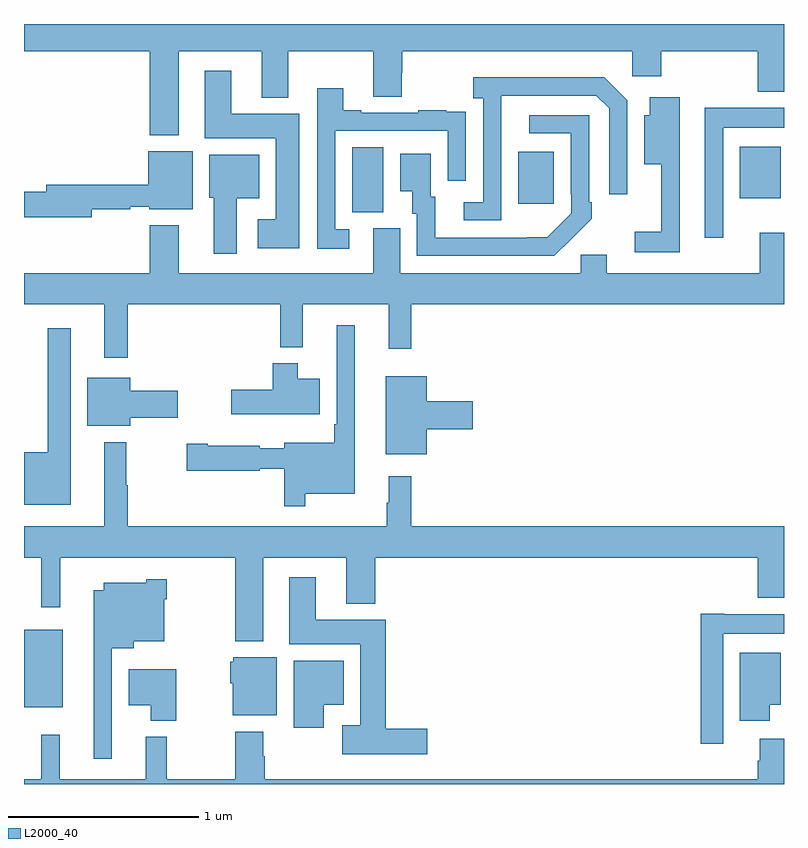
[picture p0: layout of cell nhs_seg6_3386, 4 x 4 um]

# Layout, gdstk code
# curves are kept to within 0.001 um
import gdstk
lib = gdstk.Library(unit=1e-6, precision=1e-09)
def R(c, l, rs):  # rectangles x0, y0, x1, y1
    for r in rs: c.add(gdstk.rectangle(r[:2], r[2:], *l))
def P(c, l, *ps):  # polygons
    for p in ps: c.add(gdstk.Polygon(p, *l))
L2000_40 = (2000, 40)

nhs_seg6_3386 = lib.new_cell('nhs_seg6_3386')
R(nhs_seg6_3386, L2000_40, [(311,923.903,311.203,924.313), (312.728,926.509,312.892,926.852), (313.601,926.553,313.789,926.827), (314.768,926.582,314.983,926.854)])
P(nhs_seg6_3386, L2000_40, [(311.815,927.356),(312.251,927.356),(312.251,927.113),(312.391,927.113),(312.391,927.356),(312.839,927.356),(312.839,927.118),(312.987,927.118),(312.987,927.243),(312.992,927.243),(312.992,927.356),(314.202,927.356),(314.202,927.225),(314.354,927.225),(314.354,927.356),(314.861,927.356),(314.861,927.143),(315,927.143),(315,927.5),(311,927.5),(311,927.356),(311.663,927.356),(311.663,926.915),(311.815,926.915)],
  [(312.448,927.028),(312.091,927.028),(312.091,927.253),(311.951,927.253),(311.951,926.9),(312.326,926.9),(312.326,926.473),(312.231,926.473),(312.231,926.321),(312.448,926.321)],
  [(313.512,926.923),(313.513,927.123),(314.013,927.123),(314.079,927.057),(314.079,926.604),(314.175,926.604),(314.175,927.099),(314.054,927.22),(313.365,927.22),(313.365,927.11),(313.416,927.11),(313.416,926.562),(313.314,926.562),(313.314,926.466),(313.512,926.466)],
  [(312.712,926.421),(312.639,926.421),(312.639,926.937),(313.23,926.937),(313.23,926.676),(313.326,926.676),(313.326,926.93),(313.325,926.93),(313.325,927.039),(313.223,927.039),(313.223,927.046),(313.075,927.046),(313.075,927.033),(312.775,927.033),(312.775,927.046),(312.679,927.046),(312.679,927.163),(312.543,927.163),(312.543,926.316),(312.712,926.316)],
  [(314.452,927.115),(314.294,927.115),(314.294,927.019),(314.264,927.019),(314.264,926.762),(314.354,926.762),(314.354,926.407),(314.214,926.407),(314.214,926.298),(314.452,926.298)],
  [(314.679,926.954),(315,926.954),(315,927.058),(314.582,927.058),(314.582,926.376),(314.679,926.376)],
  [(313.883,926.371),(313.884,926.37),(313.989,926.475),(313.989,926.563),(313.974,926.563),(313.974,927.021),(313.659,927.021),(313.659,926.925),(313.878,926.925),(313.878,926.605),(313.881,926.605),(313.881,926.505),(313.753,926.377),(313.165,926.376),(313.165,926.592),(313.141,926.592),(313.141,926.818),(312.98,926.818),(312.98,926.621),(313.043,926.621),(313.043,926.502),(313.068,926.502),(313.068,926.28),(313.792,926.28)],
  [(311.356,926.526),(311.558,926.526),(311.558,926.538),(311.658,926.538),(311.658,926.525),(311.887,926.525),(311.887,926.83),(311.654,926.83),(311.654,926.654),(311.117,926.654),(311.117,926.618),(311,926.618),(311,926.483),(311.356,926.483)],
  [(312.121,926.582),(312.238,926.582),(312.238,926.812),(311.975,926.812),(311.975,926.586),(311.999,926.586),(311.999,926.292),(312.121,926.292)],
  [(315,926.401),(314.873,926.401),(314.873,926.188),(314.068,926.188),(314.068,926.286),(313.929,926.286),(313.929,926.188),(312.979,926.188),(312.979,926.424),(312.839,926.424),(312.839,926.188),(311.815,926.188),(311.815,926.44),(311.663,926.44),(311.663,926.188),(311,926.188),(311,926.024),(311.423,926.024),(311.423,925.743),(311.545,925.743),(311.545,926.024),(312.349,926.024),(312.349,925.799),(312.467,925.799),(312.467,926.024),(312.92,926.024),(312.92,925.791),(313.037,925.791),(313.037,926.024),(315,926.024)],
  [(312.481,925.028),(312.742,925.028),(312.742,925.915),(312.645,925.915),(312.645,925.393),(312.633,925.393),(312.633,925.297),(312.371,925.297),(312.371,925.267),(312.24,925.267),(312.24,925.279),(311.968,925.279),(311.968,925.292),(311.856,925.292),(311.856,925.15),(312.24,925.15),(312.24,925.158),(312.371,925.158),(312.371,924.963),(312.481,924.963)],
  [(311.245,925.9),(311.124,925.9),(311.124,925.247),(311,925.247),(311,924.971),(311.245,924.971)],
  [(312.556,925.633),(312.442,925.633),(312.442,925.714),(312.308,925.714),(312.308,925.575),(312.09,925.575),(312.09,925.445),(312.556,925.445)],
  [(313.12,925.367),(313.363,925.367),(313.363,925.514),(313.12,925.514),(313.12,925.645),(312.905,925.645),(312.905,925.235),(313.12,925.235)],
  [(311.56,925.427),(311.809,925.427),(311.809,925.569),(311.56,925.569),(311.56,925.639),(311.333,925.639),(311.333,925.385),(311.56,925.385)],
  [(312.259,924.692),(312.695,924.692),(312.695,924.449),(312.848,924.449),(312.848,924.692),(314.861,924.692),(314.861,924.479),(315,924.479),(315,924.856),(313.037,924.856),(313.037,925.12),(312.92,925.12),(312.92,924.98),(312.909,924.98),(312.909,924.856),(311.545,924.856),(311.545,925.073),(311.537,925.073),(311.537,925.3),(311.423,925.3),(311.423,924.856),(311,924.856),(311,924.692),(311.09,924.692),(311.09,924.429),(311.19,924.429),(311.19,924.692),(312.112,924.692),(312.112,924.251),(312.259,924.251)],
  [(313.123,923.792),(312.905,923.792),(312.905,924.364),(312.535,924.364),(312.535,924.589),(312.395,924.589),(312.395,924.236),(312.77,924.236),(312.77,923.809),(312.675,923.809),(312.675,923.657),(313.123,923.657)],
  [(311.463,924.215),(311.578,924.215),(311.578,924.251),(311.737,924.251),(311.737,924.473),(311.751,924.473),(311.751,924.577),(311.643,924.577),(311.643,924.559),(311.42,924.559),(311.42,924.52),(311.366,924.52),(311.366,923.634),(311.463,923.634)],
  [(314.679,924.29),(315,924.29),(315,924.394),(314.686,924.394),(314.686,924.397),(314.563,924.397),(314.563,923.712),(314.679,923.712)],
  [(314.926,923.918),(314.983,923.918),(314.983,924.19),(314.768,924.19),(314.768,923.832),(314.926,923.832)],
  [(312.331,924.166),(312.102,924.166),(312.102,924.144),(312.086,924.144),(312.086,924.03),(312.098,924.03),(312.098,923.861),(312.331,923.861)],
  [(312.577,923.918),(312.682,923.918),(312.682,924.148),(312.419,924.148),(312.419,923.796),(312.577,923.796)],
  [(311.8,924.103),(311.552,924.103),(311.552,923.915),(311.666,923.915),(311.666,923.834),(311.8,923.834)],
  [(315,923.737),(314.873,923.737),(314.873,923.622),(314.861,923.622),(314.861,923.524),(312.267,923.524),(312.267,923.645),(312.259,923.645),(312.259,923.776),(312.112,923.776),(312.112,923.524),(311.752,923.524),(311.752,923.749),(311.642,923.749),(311.642,923.524),(311.189,923.524),(311.189,923.758),(311.09,923.758),(311.09,923.524),(311,923.524),(311,923.5),(315,923.5)])

lib.write_gds('nhs_seg6_3386.gds')
